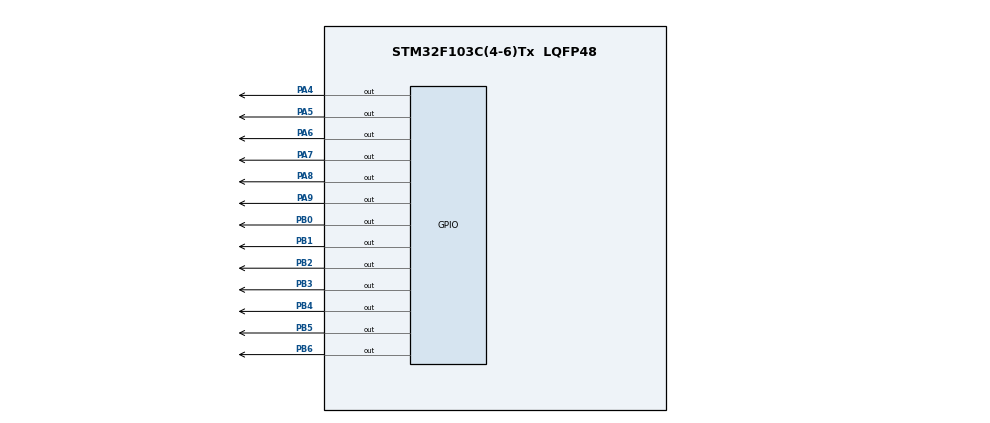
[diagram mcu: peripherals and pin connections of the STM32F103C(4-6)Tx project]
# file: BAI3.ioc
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Mcu.Family=STM32F1
Mcu.Name=STM32F103C(4-6)Tx
Mcu.Package=LQFP48
NVIC.PriorityGroup=NVIC_PRIORITYGROUP_4
NVIC.TIM2_IRQn=true\:0\:0\:false\:false\:true\:true\:true
PA4.Signal=GPIO_Output
PA5.Signal=GPIO_Output
PA6.Signal=GPIO_Output
PA7.Signal=GPIO_Output
PA8.Signal=GPIO_Output
PA9.Signal=GPIO_Output
PB0.Signal=GPIO_Output
PB1.Signal=GPIO_Output
PB2.Signal=GPIO_Output
PB3.Signal=GPIO_Output
PB4.Signal=GPIO_Output
PB5.Signal=GPIO_Output
PB6.Signal=GPIO_Output
ProjectManager.HeapSize=0x200
ProjectManager.StackSize=0x400
ProjectManager.TargetToolchain=STM32CubeIDE
RCC.APB1Freq_Value=8000000
RCC.APB2Freq_Value=8000000
TIM2.Period=9
TIM2.Prescaler=7999
VP_SYS_VS_ND.Mode=No_Debug
VP_TIM2_VS_ClockSourceINT.Mode=Internal
board=custom

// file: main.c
/* USER CODE BEGIN Header */
/**
  ******************************************************************************
  * @file           : main.c
  * @brief          : Main program body
  ******************************************************************************
  * @attention
  *
  * <h2><center>&copy; Copyright (c) 2022 STMicroelectronics.
  * All rights reserved.</center></h2>
  *
  * This software component is licensed by ST under BSD 3-Clause license,
  * the "License"; You may not use this file except in compliance with the
  * License. You may obtain a copy of the License at:
  *                        opensource.org/licenses/BSD-3-Clause
  *
  ******************************************************************************
  */
/* USER CODE END Header */
#include "main.h"

TIM_HandleTypeDef htim2;

void SystemClock_Config(void);
static void MX_GPIO_Init(void);
static void MX_TIM2_Init(void);

int main(void)
{

  /* MCU Configuration--------------------------------------------------------*/

  /* Reset of all peripherals, Initializes the Flash interface and the Systick. */
  HAL_Init();

  /* Configure the system clock */
  SystemClock_Config();

  /* Initialize all configured peripherals */
  MX_GPIO_Init();
  MX_TIM2_Init();
  /* USER CODE BEGIN 2 */
  HAL_TIM_Base_Start_IT(&htim2);
  HAL_GPIO_WritePin(GPIOB, GPIO_PIN_0|GPIO_PIN_1|GPIO_PIN_2|GPIO_PIN_3
                |GPIO_PIN_4|GPIO_PIN_5|GPIO_PIN_6, GPIO_PIN_SET);
  /* USER CODE END 2 */

  /* Infinite loop */
  while (1)
  {

  }
}

void SystemClock_Config(void)
{
  RCC_OscInitTypeDef RCC_OscInitStruct = {0};
  RCC_ClkInitTypeDef RCC_ClkInitStruct = {0};

  /** Initializes the RCC Oscillators according to the specified parameters
  * in the RCC_OscInitTypeDef structure.
  */
  RCC_OscInitStruct.OscillatorType = RCC_OSCILLATORTYPE_HSI;
  RCC_OscInitStruct.HSIState = RCC_HSI_ON;
  RCC_OscInitStruct.HSICalibrationValue = RCC_HSICALIBRATION_DEFAULT;
  RCC_OscInitStruct.PLL.PLLState = RCC_PLL_NONE;
  if (HAL_RCC_OscConfig(&RCC_OscInitStruct) != HAL_OK)
  {
    Error_Handler();
  }
  /** Initializes the CPU, AHB and APB buses clocks
  */
  RCC_ClkInitStruct.ClockType = RCC_CLOCKTYPE_HCLK|RCC_CLOCKTYPE_SYSCLK
                              |RCC_CLOCKTYPE_PCLK1|RCC_CLOCKTYPE_PCLK2;
  RCC_ClkInitStruct.SYSCLKSource = RCC_SYSCLKSOURCE_HSI;
  RCC_ClkInitStruct.AHBCLKDivider = RCC_SYSCLK_DIV1;
  RCC_ClkInitStruct.APB1CLKDivider = RCC_HCLK_DIV1;
  RCC_ClkInitStruct.APB2CLKDivider = RCC_HCLK_DIV1;

  if (HAL_RCC_ClockConfig(&RCC_ClkInitStruct, FLASH_LATENCY_0) != HAL_OK)
  {
    Error_Handler();
  }
}

static void MX_TIM2_Init(void)
{

  TIM_ClockConfigTypeDef sClockSourceConfig = {0};
  TIM_MasterConfigTypeDef sMasterConfig = {0};

  htim2.Instance = TIM2;
  htim2.Init.Prescaler = 7999;
  htim2.Init.CounterMode = TIM_COUNTERMODE_UP;
  htim2.Init.Period = 9;
  htim2.Init.ClockDivision = TIM_CLOCKDIVISION_DIV1;
  htim2.Init.AutoReloadPreload = TIM_AUTORELOAD_PRELOAD_DISABLE;
  if (HAL_TIM_Base_Init(&htim2) != HAL_OK)
  {
    Error_Handler();
  }
  sClockSourceConfig.ClockSource = TIM_CLOCKSOURCE_INTERNAL;
  if (HAL_TIM_ConfigClockSource(&htim2, &sClockSourceConfig) != HAL_OK)
  {
    Error_Handler();
  }
  sMasterConfig.MasterOutputTrigger = TIM_TRGO_RESET;
  sMasterConfig.MasterSlaveMode = TIM_MASTERSLAVEMODE_DISABLE;
  if (HAL_TIMEx_MasterConfigSynchronization(&htim2, &sMasterConfig) != HAL_OK)
  {
    Error_Handler();
  }

}

static void MX_GPIO_Init(void)
{
  GPIO_InitTypeDef GPIO_InitStruct = {0};

  /* GPIO Ports Clock Enable */
  __HAL_RCC_GPIOA_CLK_ENABLE();
  __HAL_RCC_GPIOB_CLK_ENABLE();

  /*Configure GPIO pin Output Level */
  HAL_GPIO_WritePin(GPIOA, GPIO_PIN_4|GPIO_PIN_5|GPIO_PIN_6|GPIO_PIN_7
                          |GPIO_PIN_8|GPIO_PIN_9, GPIO_PIN_RESET);

  /*Configure GPIO pin Output Level */
  HAL_GPIO_WritePin(GPIOB, GPIO_PIN_0|GPIO_PIN_1|GPIO_PIN_2|GPIO_PIN_3
                          |GPIO_PIN_4|GPIO_PIN_5|GPIO_PIN_6, GPIO_PIN_RESET);

  /*Configure GPIO pins : PA4 PA5 PA6 PA7
                           PA8 PA9 */
  GPIO_InitStruct.Pin = GPIO_PIN_4|GPIO_PIN_5|GPIO_PIN_6|GPIO_PIN_7
                          |GPIO_PIN_8|GPIO_PIN_9;
  GPIO_InitStruct.Mode = GPIO_MODE_OUTPUT_PP;
  GPIO_InitStruct.Pull = GPIO_NOPULL;
  GPIO_InitStruct.Speed = GPIO_SPEED_FREQ_LOW;
  HAL_GPIO_Init(GPIOA, &GPIO_InitStruct);

  /*Configure GPIO pins : PB0 PB1 PB2 PB3
                           PB4 PB5 PB6 */
  GPIO_InitStruct.Pin = GPIO_PIN_0|GPIO_PIN_1|GPIO_PIN_2|GPIO_PIN_3
                          |GPIO_PIN_4|GPIO_PIN_5|GPIO_PIN_6;
  GPIO_InitStruct.Mode = GPIO_MODE_OUTPUT_PP;
  GPIO_InitStruct.Pull = GPIO_NOPULL;
  GPIO_InitStruct.Speed = GPIO_SPEED_FREQ_LOW;
  HAL_GPIO_Init(GPIOB, &GPIO_InitStruct);

}

uint16_t seg7led[4] = {GPIO_PIN_6, GPIO_PIN_7, GPIO_PIN_8, GPIO_PIN_9};

void clearLed(){
	HAL_GPIO_WritePin(GPIOA, GPIO_PIN_6 | GPIO_PIN_7|
			GPIO_PIN_8| GPIO_PIN_9, GPIO_PIN_SET);
	HAL_GPIO_WritePin(GPIOB, GPIO_PIN_0|GPIO_PIN_1|GPIO_PIN_2|GPIO_PIN_3
            |GPIO_PIN_4|GPIO_PIN_5|GPIO_PIN_6, GPIO_PIN_SET);
}

/* USER CODE BEGIN 4 */

void display7SEG(int indexLed, int number){
	HAL_GPIO_WritePin(GPIOA, seg7led[indexLed], GPIO_PIN_RESET);
	//tao mang de luu cac gia tri cua cac so tu 0 den 9
	char led7seg[10] = {0xC0, 0xF9, 0xA4, 0xB0, 0x99, 0x92, 0x82, 0xF8, 0x80, 0x90};
	//cho bien i chay tu 0 den 6 tuong duong voi 7 doan tren led7doan
	//muc dich cua vong lap nay la de bat hoac tat cac led tren led 7 doan
	for (int i=0; i < 7; i++){
		/*dich bit sang phai de tien hanh and voi bit 1 de xac dinh trang thai led
		 0 la bat 1 la tat
		 */
		HAL_GPIO_WritePin(GPIOB, GPIO_PIN_0 <<i, (led7seg[number]>>i) & 1);

	}
}

int counter = 100;
int indexLed = 0; //Tao bien de luu so thu tu den
int buffer[4] = {1, 2, 3, 4}; //Tao bien de luu gia tri cua led

void HAL_TIM_PeriodElapsedCallback(TIM_HandleTypeDef *htim){
	counter--;
	if (counter == 50 || counter == 0){
		if (counter == 0) {
			counter = 100;
			HAL_GPIO_TogglePin(GPIOA, GPIO_PIN_5 | GPIO_PIN_4);
		}
		clearLed();//TAT CAC LED PIN 6A, 7A, 8A, 9A VA LED 7 DOAN
	update7SEG(indexLed);
	indexLed++;
	if (indexLed > 3) indexLed = 0;
	}
}

void update7SEG(int indexLed){
	clearLed();
	display7SEG(indexLed, buffer[indexLed]);
}

/* USER CODE END 4 */

void Error_Handler(void)
{
  __disable_irq();
  while (1)
  {
  }
}

/************************ (C) COPYRIGHT STMicroelectronics *****END OF FILE****/
